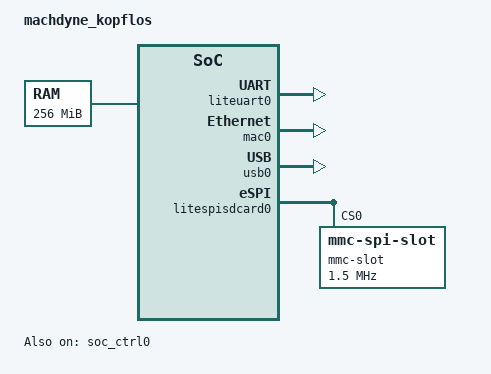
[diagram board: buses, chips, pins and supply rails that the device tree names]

/dts-v1/;

/ {
        compatible = "litex,machdyne_kopflos", "litex,soc";
        model = "machdyne_kopflos";
        #address-cells = <1>;
        #size-cells    = <1>;


        chosen {
            bootargs = "console=liteuart earlycon=liteuart,0xf0001000 rootwait root=/dev/mmcblk0p2 fbcon=logo-pos:0";
        };

        sys_clk: clock-40000000 {
            compatible = "fixed-clock";
            #clock-cells = <0>;
            clock-frequency  = <40000000>;
        };

        cpus {
            #address-cells = <1>;
            #size-cells    = <0>;
            timebase-frequency = <40000000>;

            CPU0: cpu@0 {
                device_type = "cpu";
                compatible = "riscv";
                riscv,isa = "rv32i2p0_ma";
                riscv,isa-base = "rv32i";
                riscv,isa-extensions = "a", "i", "m";
                mmu-type = "riscv,sv32";
                reg = <0>;
                clock-frequency = <40000000>;
                status = "okay";
                
                d-cache-size = <4096>;
                d-cache-sets = <1>;
                d-cache-block-size = <64>;

                i-cache-size = <4096>;
                i-cache-sets = <1>;
                i-cache-block-size = <64>;

                
                tlb-split;
                d-tlb-size = <4>;
                d-tlb-sets = <4>;

                i-tlb-size = <4>;
                i-tlb-sets = <4>;

                
                L0: interrupt-controller {
                    #address-cells = <0>;
                    #interrupt-cells = <0x00000001>;
                    interrupt-controller;
                    compatible = "riscv,cpu-intc";
                };
            };

            
        };

        memory: memory@40000000 {
            device_type = "memory";
            reg = <0x40000000 0x10000000>;
        };

        reserved-memory {
            #address-cells = <1>;
            #size-cells    = <1>;
            ranges;

            opensbi@40f00000 {
                reg = <0x40f00000 0x80000>;
            };

        };

        soc {
            #address-cells = <1>;
            #size-cells    = <1>;
            compatible = "simple-bus";
            interrupt-parent = <&intc0>;
            ranges;

            soc_ctrl0: soc_controller@f0000000 {
                compatible = "litex,soc-controller";
                reg = <0xf0000000 0xc>;
                status = "okay";
            };

            intc0: interrupt-controller@f0c00000 {
                compatible = "sifive,fu540-c000-plic", "sifive,plic-1.0.0";
                reg = <0xf0c00000 0x400000>;
                #address-cells = <0>;
                #interrupt-cells = <1>;
                interrupt-controller;
                interrupts-extended = <
                    &L0 11 &L0 9>;
                riscv,ndev = <32>;
                
            };

            liteuart0: serial@f0001000 {
                compatible = "litex,liteuart";
                reg = <0xf0001000 0x100>;
                interrupts = <1>;
                status = "okay";
            };

            mac0: mac@f0002000 {
                compatible = "litex,liteeth";
                reg = <0xf0002000 0x7c>,
                      <0xf0002800 0x0a>,
                      <0x80000000 0x2000>;
                reg-names = "mac", "mdio", "buffer";
                litex,rx-slots = <2>;
                litex,tx-slots = <2>;
                litex,slot-size = <2048>;
                interrupts = <3>;
                status = "okay";
            };

            usb0: mac@c0000000 {
                compatible = "generic-ohci";
                reg = <0xc0000000 0x1000>;
                interrupts = <16>;
                status = "okay";
            };

            litespisdcard0: spi@f0004000 {
                compatible = "litex,litespi";
                reg = <0xf0004000 0x100>;
                status = "okay";

                litespi,max-bpw = <8>;
                litespi,sck-frequency = <1500000>;
                litespi,num-cs = <1>;

                #address-cells = <1>;
                #size-cells    = <0>;

                mmc-slot@0 {
                    compatible = "mmc-spi-slot";
                    reg = <0>;
                    voltage-ranges = <3300 3300>;
                    spi-max-frequency = <1500000>;
                    status = "okay";
                    };
            };

        };

        aliases {

                serial0 = &liteuart0;

                sdcard0 = &litespisdcard0;

        };

};
